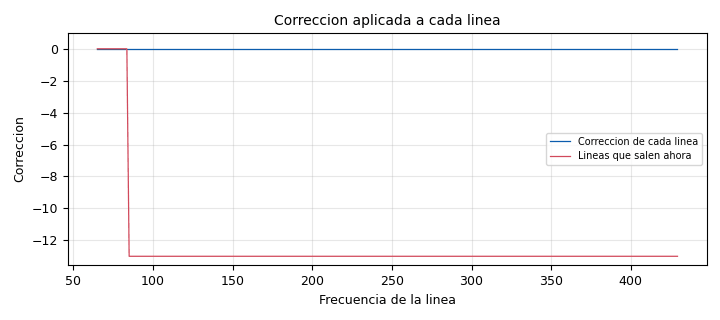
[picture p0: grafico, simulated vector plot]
options:
  parameters:
    description: 'bladeRF 2.0 micro xA9: peine de 70 a 420 MHz, lineas cada 10 MHz. Igual al EXP-17, pero la ganancia se elige por el nivel de cada linea: -33, -20, -10, -5 o 0 dBm. SOLO para medir con el analizador: nunca con el cable en RX1. Sin codigo Python'
    generate_options: qt_gui
    id: exp17_a9_peine_manual_niveles
    output_language: python
    title: 'EXP-17 xA9: peine manual con selector de nivel'
  states: {}

blocks:
- name: samp_rate
  id: variable
  parameters:
    comment: |-
      Tasa de muestreo. En esta PC no pasar de
      25e6
    value: 20e6
  states: {}
- name: f_tono
  id: variable
  parameters:
    comment: |-
      Cada portadora lleva dos tonos: en +f_tono y
      en -f_tono
    value: 5e6
  states: {}
- name: amp
  id: variable
  parameters:
    comment: |-
      Amplitud de cada tono. La suma de los dos no
      debe pasar de 0.95
    value: '0.45'
  states: {}
- name: ancho_banda
  id: variable
  parameters:
    comment: Filtro analogico de la placa
    value: 18e6
  states: {}
- name: import_0
  id: import
  parameters:
    imports: import math
  states: {}
- name: f_primera
  id: variable
  parameters:
    comment: |-
      Primera portadora. Sus lineas salen en 70 y
      80 MHz
    value: 75e6
  states: {}
- name: paso_port
  id: variable
  parameters:
    comment: Separacion entre portadoras
    value: 20e6
  states: {}
- name: n_port
  id: variable
  parameters:
    comment: |-
      Cantidad de portadoras: 18 dan 36 lineas, de
      70 a 420 MHz
    value: '18'
  states: {}
- name: permanencia
  id: variable
  parameters:
    comment: |-
      Segundos en cada portadora. Tiene que ser
      mayor que un barrido del analizador
    value: '2.0'
  states: {}
- name: lista_de_pasos
  id: variable
  parameters:
    comment: 'Los pasos del barrido: 0, 1, 2, ...'
    value: list(range(100000))
  states: {}
- name: paso
  id: variable_function_probe
  parameters:
    block_id: lista_de_pasos
    comment: |-
      Cada 'permanencia' segundos saca el primer
      numero de la lista: es el paso actual
    function_args: '0'
    function_name: pop
    poll_rate: 1.0 / permanencia
    value: '-1'
  states: {}
- name: indice
  id: variable
  parameters:
    comment: Portadora actual, de 0 a n_port - 1
    value: max(paso, 0) % n_port
  states: {}
- name: pasada
  id: variable
  parameters:
    comment: Cuantas veces se recorrio el peine
    value: max(paso, 0) // n_port + 1
  states: {}
- name: freq
  id: variable
  parameters:
    comment: Frecuencia de la portadora actual
    value: f_primera + paso_port * indice
  states: {}
- name: emitir
  id: variable_qtgui_check_box
  parameters:
    gui_hint: 2,0,1,3
    label: Emitir (destildar para dejar la salida en silencio)
    type: int
    'true': '1'
    'false': '0'
    value: '1'
  states: {}
- name: ganancia_base
  id: variable_qtgui_chooser
  parameters:
    comment: |-
      Cada opcion es una ganancia de transmision;
      el nivel es el medido con la tinySA
    gui_hint: 2,3,1,3
    label: Nivel por linea
    labels: '[''-33 dBm (ganancia 30)'', ''-20 dBm (ganancia 43)'', ''-10 dBm (ganancia 53)'', ''-5 dBm (ganancia 58)'', ''0 dBm (ganancia 63)'']'
    options: '[30, 43, 53, 58, 63]'
    num_opts: '0'
    type: int
    value: '30'
  states: {}
- name: tabla_inicial
  id: variable
  parameters:
    comment: |-
      Correcciones con las que arranca el flujo,
      una por portadora. Para guardar una
      calibracion, copiar aca la 'Tabla actual' de
      la ventana
    value: '[0] * 18'
  states: {}
- name: tabla
  id: variable
  parameters:
    comment: |-
      Correccion elegida para cada portadora, en
      dB
    value: '[c_75, c_95, c_115, c_135, c_155, c_175, c_195, c_215, c_235, c_255, c_275, c_295, c_315, c_335, c_355, c_375, c_395, c_415]'
  states: {}
- name: niveles_altos
  id: variable_qtgui_check_box
  parameters:
    gui_hint: 3,0,1,9
    label: Permitir -5 y 0 dBm por linea. Tildar SOLO con la atenuacion del analizador fija en 30 dB
    type: int
    'true': '1'
    'false': '0'
    value: '0'
  states: {}
- name: correccion
  id: variable
  parameters:
    comment: Correccion de la portadora actual, en dB
    value: tabla[indice]
  states: {}
- name: tx_gain
  id: variable
  parameters:
    comment: |-
      Ganancia que recibe la placa. Cambia junto
      con la frecuencia en cada salto
    value: min(ganancia_base + correccion, tope)
  states: {}
- name: amp_tx
  id: variable
  parameters:
    comment: Amplitud de los dos tonos (0 en silencio)
    value: amp if emitir == 1 else 0
  states: {}
- name: nivel_estimado
  id: variable
  parameters:
    comment: |-
      dBm por linea, segun lo medido el
      04-10-2026: -33 dBm con ganancia 30
    value: tx_gain - 56 + 20 * math.log10(amp)
  states: {}
- name: etapa
  id: variable
  parameters:
    comment: Texto de la etapa actual
    value: '''SILENCIO'' if emitir == 0 else (''INICIACION'' if paso < 0 else ''TRANSMISION, pasada %d'' % pasada)'
  states: {}
- name: tope
  id: variable
  parameters:
    comment: |-
      Tope de seguridad de la ganancia: 53 (-10
      dBm por linea) salvo que se tilde la casilla
      de niveles altos
    value: 63 if niveles_altos == 1 else 53
  states: {}
- name: et_etapa
  id: variable_qtgui_label
  parameters:
    formatter: 'lambda x: "<span style=''font-size:15pt''><b>" + str(x) + "</b></span>"'
    gui_hint: 0,0,1,3
    label: '<span style=''font-size:15pt''>Etapa: </span>'
    type: string
    value: etapa
  states: {}
- name: et_portadora
  id: variable_qtgui_label
  parameters:
    formatter: 'lambda x: "<span style=''font-size:15pt''><b>" + str(x) + "</b></span>"'
    gui_hint: 0,3,1,3
    label: '<span style=''font-size:15pt''>Portadora: </span>'
    type: string
    value: '''%d de %d, en %.0f MHz'' % (indice + 1, n_port, freq / 1e6)'
  states: {}
- name: et_lineas
  id: variable_qtgui_label
  parameters:
    formatter: 'lambda x: "<span style=''font-size:15pt''><b>" + str(x) + "</b></span>"'
    gui_hint: 0,6,1,3
    label: '<span style=''font-size:15pt''>Lineas: </span>'
    type: string
    value: '''%.0f y %.0f MHz'' % ((freq - f_tono) / 1e6, (freq + f_tono) / 1e6)'
  states: {}
- name: et_ganancia
  id: variable_qtgui_label
  parameters:
    formatter: 'lambda x: "<span style=''font-size:11pt''><b>" + str(x) + "</b></span>"'
    gui_hint: 1,0,1,5
    label: '<span style=''font-size:11pt''>Ganancia aplicada: </span>'
    type: string
    value: '(''%d dB'' % tx_gain) + ('' (LIMITADA por el tope: falta tildar la casilla)'' if ganancia_base + correccion > tope else '''')'
  states: {}
- name: et_nivel
  id: variable_qtgui_label
  parameters:
    formatter: 'lambda x: "<span style=''font-size:11pt''><b>" + str(x) + "</b></span>"'
    gui_hint: 1,5,1,4
    label: '<span style=''font-size:11pt''>Nivel por linea: </span>'
    type: string
    value: ('unos %.0f dBm' % nivel_estimado) if emitir == 1 else 'sin emision'
  states: {}
- name: et_tiempos
  id: variable_qtgui_label
  parameters:
    formatter: 'lambda x: "<span style=''font-size:11pt''><b>" + str(x) + "</b></span>"'
    gui_hint: 2,6,1,3
    label: '<span style=''font-size:11pt''>Pasada completa: </span>'
    type: string
    value: '''%.0f s (%.1f s por portadora)'' % (permanencia * n_port, permanencia)'
  states: {}
- name: et_titulo
  id: variable_qtgui_label
  parameters:
    gui_hint: 4,0,1,9
    label: <span style='font-size:11pt'><b>Correccion por portadora, en dB.</b> Cada selector baja las dos lineas de su portadora</span>
    type: string
    value: ''''''
  states: {}
- name: et_tabla
  id: variable_qtgui_label
  parameters:
    gui_hint: 8,0,1,9
    label: 'Tabla actual (para copiar en tabla_inicial): '
    type: string
    value: str(tabla)
  states: {}
- name: tono_superior
  id: analog_sig_source_x
  parameters:
    comment: Sale en portadora + 5 MHz
    amp: amp_tx
    freq: f_tono
    offset: '0'
    phase: '0'
    samp_rate: samp_rate
    type: complex
    waveform: analog.GR_COS_WAVE
  states: {}
- name: tono_inferior
  id: analog_sig_source_x
  parameters:
    comment: Sale en portadora - 5 MHz
    amp: amp_tx
    freq: '-f_tono'
    offset: '0'
    phase: '0'
    samp_rate: samp_rate
    type: complex
    waveform: analog.GR_COS_WAVE
  states: {}
- name: suma
  id: blocks_add_xx
  parameters:
    type: complex
  states: {}
- name: osmosdr_sink_0
  id: osmosdr_sink
  parameters:
    args: bladerf=321e0fa5875945d99b11070bb0a76d31
    bb_gain0: '0'
    bw0: ancho_banda
    comment: |-
      bladeRF 2.0 micro xA9, salida TX1. Solo
      hacia el analizador
    freq0: freq
    gain0: tx_gain
    if_gain0: '0'
    sample_rate: samp_rate
    sync: sync
    type: fc32
  states: {}
- name: linea_de_punto
  id: variable
  parameters:
    comment: |-
      El grafico tiene 256 puntos, 7 por linea: a
      que linea (0 a 35) corresponde cada punto
    value: '[min(j // 7, 2 * n_port - 1) for j in range(256)]'
  states: {}
- name: curva_tabla
  id: variable
  parameters:
    comment: Correccion de cada linea, punto por punto
    value: '[tabla[k // 2] for k in linea_de_punto]'
  states: {}
- name: curva_actual
  id: variable
  parameters:
    comment: Marca las dos lineas que salen ahora
    value: '[(tabla[k // 2] if (k // 2 == indice and emitir == 1) else -13) for k in linea_de_punto]'
  states: {}
- name: datos_tabla
  id: blocks_vector_source_x
  parameters:
    repeat: 'True'
    type: float
    vector: curva_tabla
    vlen: '256'
  states: {}
- name: datos_actual
  id: blocks_vector_source_x
  parameters:
    repeat: 'True'
    type: float
    vector: curva_actual
    vlen: '256'
  states: {}
- name: ritmo_grafico
  id: blocks_throttle2
  parameters:
    comment: Solo marca el ritmo del grafico
    limit: time
    maximum: '0.01'
    samples_per_second: '2000'
    type: float
    vlen: '256'
  states: {}
- name: grafico
  id: qtgui_vector_sink_f
  parameters:
    name: '"Correccion aplicada a cada linea"'
    vlen: '256'
    x_start: (f_primera - f_tono) / 1e6 - 5
    x_step: 10.0 / 7
    x_axis_label: '"Frecuencia de la linea"'
    y_axis_label: '"Correccion"'
    x_units: '"MHz"'
    y_units: '"dB"'
    grid: 'True'
    ymin: '-13'
    ymax: '1'
    nconnections: '2'
    gui_hint: 7,0,1,9
    label1: '"Correccion de cada linea"'
    width1: '2'
    label2: '"Lineas que salen ahora"'
    width2: '3'
  states: {}
- name: c_75
  id: variable_qtgui_chooser
  parameters:
    gui_hint: 5,0,1,1
    label: 70-80
    labels: '[''0'', ''-1'', ''-2'', ''-3'', ''-4'', ''-5'', ''-6'', ''-7'', ''-8'', ''-9'', ''-10'', ''-11'', ''-12'']'
    options: '[0, -1, -2, -3, -4, -5, -6, -7, -8, -9, -10, -11, -12]'
    num_opts: '0'
    type: int
    value: tabla_inicial[0]
  states: {}
- name: c_95
  id: variable_qtgui_chooser
  parameters:
    gui_hint: 5,1,1,1
    label: 90-100
    labels: '[''0'', ''-1'', ''-2'', ''-3'', ''-4'', ''-5'', ''-6'', ''-7'', ''-8'', ''-9'', ''-10'', ''-11'', ''-12'']'
    options: '[0, -1, -2, -3, -4, -5, -6, -7, -8, -9, -10, -11, -12]'
    num_opts: '0'
    type: int
    value: tabla_inicial[1]
  states: {}
- name: c_115
  id: variable_qtgui_chooser
  parameters:
    gui_hint: 5,2,1,1
    label: 110-120
    labels: '[''0'', ''-1'', ''-2'', ''-3'', ''-4'', ''-5'', ''-6'', ''-7'', ''-8'', ''-9'', ''-10'', ''-11'', ''-12'']'
    options: '[0, -1, -2, -3, -4, -5, -6, -7, -8, -9, -10, -11, -12]'
    num_opts: '0'
    type: int
    value: tabla_inicial[2]
  states: {}
- name: c_135
  id: variable_qtgui_chooser
  parameters:
    gui_hint: 5,3,1,1
    label: 130-140
    labels: '[''0'', ''-1'', ''-2'', ''-3'', ''-4'', ''-5'', ''-6'', ''-7'', ''-8'', ''-9'', ''-10'', ''-11'', ''-12'']'
    options: '[0, -1, -2, -3, -4, -5, -6, -7, -8, -9, -10, -11, -12]'
    num_opts: '0'
    type: int
    value: tabla_inicial[3]
  states: {}
- name: c_155
  id: variable_qtgui_chooser
  parameters:
    gui_hint: 5,4,1,1
    label: 150-160
    labels: '[''0'', ''-1'', ''-2'', ''-3'', ''-4'', ''-5'', ''-6'', ''-7'', ''-8'', ''-9'', ''-10'', ''-11'', ''-12'']'
    options: '[0, -1, -2, -3, -4, -5, -6, -7, -8, -9, -10, -11, -12]'
    num_opts: '0'
    type: int
    value: tabla_inicial[4]
  states: {}
- name: c_175
  id: variable_qtgui_chooser
  parameters:
    gui_hint: 5,5,1,1
    label: 170-180
    labels: '[''0'', ''-1'', ''-2'', ''-3'', ''-4'', ''-5'', ''-6'', ''-7'', ''-8'', ''-9'', ''-10'', ''-11'', ''-12'']'
    options: '[0, -1, -2, -3, -4, -5, -6, -7, -8, -9, -10, -11, -12]'
    num_opts: '0'
    type: int
    value: tabla_inicial[5]
  states: {}
- name: c_195
  id: variable_qtgui_chooser
  parameters:
    gui_hint: 5,6,1,1
    label: 190-200
    labels: '[''0'', ''-1'', ''-2'', ''-3'', ''-4'', ''-5'', ''-6'', ''-7'', ''-8'', ''-9'', ''-10'', ''-11'', ''-12'']'
    options: '[0, -1, -2, -3, -4, -5, -6, -7, -8, -9, -10, -11, -12]'
    num_opts: '0'
    type: int
    value: tabla_inicial[6]
  states: {}
- name: c_215
  id: variable_qtgui_chooser
  parameters:
    gui_hint: 5,7,1,1
    label: 210-220
    labels: '[''0'', ''-1'', ''-2'', ''-3'', ''-4'', ''-5'', ''-6'', ''-7'', ''-8'', ''-9'', ''-10'', ''-11'', ''-12'']'
    options: '[0, -1, -2, -3, -4, -5, -6, -7, -8, -9, -10, -11, -12]'
    num_opts: '0'
    type: int
    value: tabla_inicial[7]
  states: {}
- name: c_235
  id: variable_qtgui_chooser
  parameters:
    gui_hint: 5,8,1,1
    label: 230-240
    labels: '[''0'', ''-1'', ''-2'', ''-3'', ''-4'', ''-5'', ''-6'', ''-7'', ''-8'', ''-9'', ''-10'', ''-11'', ''-12'']'
    options: '[0, -1, -2, -3, -4, -5, -6, -7, -8, -9, -10, -11, -12]'
    num_opts: '0'
    type: int
    value: tabla_inicial[8]
  states: {}
- name: c_255
  id: variable_qtgui_chooser
  parameters:
    gui_hint: 6,0,1,1
    label: 250-260
    labels: '[''0'', ''-1'', ''-2'', ''-3'', ''-4'', ''-5'', ''-6'', ''-7'', ''-8'', ''-9'', ''-10'', ''-11'', ''-12'']'
    options: '[0, -1, -2, -3, -4, -5, -6, -7, -8, -9, -10, -11, -12]'
    num_opts: '0'
    type: int
    value: tabla_inicial[9]
  states: {}
- name: c_275
  id: variable_qtgui_chooser
  parameters:
    gui_hint: 6,1,1,1
    label: 270-280
    labels: '[''0'', ''-1'', ''-2'', ''-3'', ''-4'', ''-5'', ''-6'', ''-7'', ''-8'', ''-9'', ''-10'', ''-11'', ''-12'']'
    options: '[0, -1, -2, -3, -4, -5, -6, -7, -8, -9, -10, -11, -12]'
    num_opts: '0'
    type: int
    value: tabla_inicial[10]
  states: {}
- name: c_295
  id: variable_qtgui_chooser
  parameters:
    gui_hint: 6,2,1,1
    label: 290-300
    labels: '[''0'', ''-1'', ''-2'', ''-3'', ''-4'', ''-5'', ''-6'', ''-7'', ''-8'', ''-9'', ''-10'', ''-11'', ''-12'']'
    options: '[0, -1, -2, -3, -4, -5, -6, -7, -8, -9, -10, -11, -12]'
    num_opts: '0'
    type: int
    value: tabla_inicial[11]
  states: {}
- name: c_315
  id: variable_qtgui_chooser
  parameters:
    gui_hint: 6,3,1,1
    label: 310-320
    labels: '[''0'', ''-1'', ''-2'', ''-3'', ''-4'', ''-5'', ''-6'', ''-7'', ''-8'', ''-9'', ''-10'', ''-11'', ''-12'']'
    options: '[0, -1, -2, -3, -4, -5, -6, -7, -8, -9, -10, -11, -12]'
    num_opts: '0'
    type: int
    value: tabla_inicial[12]
  states: {}
- name: c_335
  id: variable_qtgui_chooser
  parameters:
    gui_hint: 6,4,1,1
    label: 330-340
    labels: '[''0'', ''-1'', ''-2'', ''-3'', ''-4'', ''-5'', ''-6'', ''-7'', ''-8'', ''-9'', ''-10'', ''-11'', ''-12'']'
    options: '[0, -1, -2, -3, -4, -5, -6, -7, -8, -9, -10, -11, -12]'
    num_opts: '0'
    type: int
    value: tabla_inicial[13]
  states: {}
- name: c_355
  id: variable_qtgui_chooser
  parameters:
    gui_hint: 6,5,1,1
    label: 350-360
    labels: '[''0'', ''-1'', ''-2'', ''-3'', ''-4'', ''-5'', ''-6'', ''-7'', ''-8'', ''-9'', ''-10'', ''-11'', ''-12'']'
    options: '[0, -1, -2, -3, -4, -5, -6, -7, -8, -9, -10, -11, -12]'
    num_opts: '0'
    type: int
    value: tabla_inicial[14]
  states: {}
- name: c_375
  id: variable_qtgui_chooser
  parameters:
    gui_hint: 6,6,1,1
    label: 370-380
    labels: '[''0'', ''-1'', ''-2'', ''-3'', ''-4'', ''-5'', ''-6'', ''-7'', ''-8'', ''-9'', ''-10'', ''-11'', ''-12'']'
    options: '[0, -1, -2, -3, -4, -5, -6, -7, -8, -9, -10, -11, -12]'
    num_opts: '0'
    type: int
    value: tabla_inicial[15]
  states: {}
- name: c_395
  id: variable_qtgui_chooser
  parameters:
    gui_hint: 6,7,1,1
    label: 390-400
    labels: '[''0'', ''-1'', ''-2'', ''-3'', ''-4'', ''-5'', ''-6'', ''-7'', ''-8'', ''-9'', ''-10'', ''-11'', ''-12'']'
    options: '[0, -1, -2, -3, -4, -5, -6, -7, -8, -9, -10, -11, -12]'
    num_opts: '0'
    type: int
    value: tabla_inicial[16]
  states: {}
- name: c_415
  id: variable_qtgui_chooser
  parameters:
    gui_hint: 6,8,1,1
    label: 410-420
    labels: '[''0'', ''-1'', ''-2'', ''-3'', ''-4'', ''-5'', ''-6'', ''-7'', ''-8'', ''-9'', ''-10'', ''-11'', ''-12'']'
    options: '[0, -1, -2, -3, -4, -5, -6, -7, -8, -9, -10, -11, -12]'
    num_opts: '0'
    type: int
    value: tabla_inicial[17]
  states: {}

connections:
- [tono_superior, '0', suma, '0']
- [tono_inferior, '0', suma, '1']
- [suma, '0', osmosdr_sink_0, '0']
- [datos_tabla, '0', ritmo_grafico, '0']
- [ritmo_grafico, '0', grafico, '0']
- [datos_actual, '0', grafico, '1']

metadata:
  file_format: 1
  grc_version: 3.10.12.0
